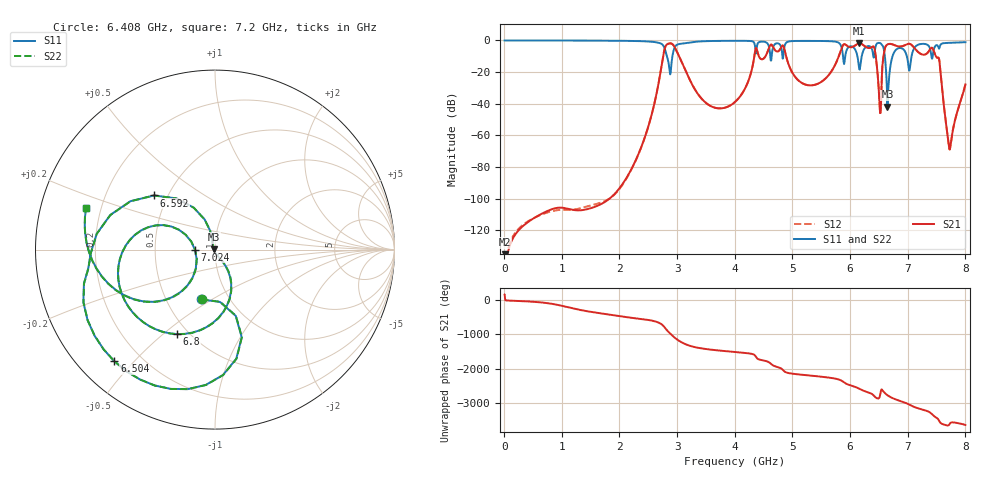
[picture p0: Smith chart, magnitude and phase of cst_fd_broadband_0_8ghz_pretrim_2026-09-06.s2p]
! TOUCHSTONE file generated by CST MICROWAVE STUDIO
! Date and time: Sun Sep  6 22:05:31 2026
! Project name: test.cst
! Parameters = {L_cav1=34.239; L_cav2=35.503; L_cav3=34.239; L_feed=15.4623; L_taper=15.738; Lsub=166.382; W_ms=1.6636; Wsub=45.79; a_siw=39.79; eps_r=3.66; h_air=4.56; h_sub=0.76; p_via=3; rvia=0.75; t_cu=0.0175; tan_d=0.0037; w_ext=13.96; w_iris12=14.416; w_iris23=14.416}
! Header version: 2018
! Port assignment regex: !\s*Touchstone port\s*([0-9]+)\s*=\s*(CST MWS port|CST DS port)\s*([0-9]+|Zmin|Zmax)\s*\(\"(.*)\"\)(\s*mode\s*([0-9]+))?.*
! Touchstone port assignment:
! Touchstone port 1 = CST MWS port 1 ("")
! Touchstone port 2 = CST MWS port 2 ("")
# GHz S MA R 50
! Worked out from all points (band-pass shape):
!   1001 points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, 8 MHz to 8 GHz, reference 50 ohm
!   highest |S21| = -1.79 dB at 6.16 GHz (marker M1); lowest = -165.4 dB at 16 MHz (marker M2)
!   |S21| within 3 dB of the highest: 5.855 GHz to 6.327 GHz (472.5 MHz wide, 7.76 % of centre); 6.606 GHz to 7.117 GHz (510.8 MHz wide, 7.44 % of centre)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
!   lowest |S11| = -41.9 dB at 6.648 GHz (marker M3), VSWR 1.02, Z = 49.2 + j0.0696 ohm
!   |S11| at or under -10 dB: 2.824 GHz to 2.918 GHz (94.7 MHz wide, 3.3 % of centre); 6.127 GHz to 6.202 GHz (74.42 MHz wide, 1.21 % of centre); 6.603 GHz to 6.736 GHz (132.5 MHz wide, 1.99 % of centre)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
!   |S22| runs from -42.0 to 0.0 dB; largest |S21 - S12| = 0.00028
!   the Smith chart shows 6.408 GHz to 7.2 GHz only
!   S11 on the Smith chart (normalised r, x): 6.408 GHz: 0.74, -0.45; 6.504 GHz: 0.11, -0.44; 6.592 GHz: 0.42, +0.32; 6.8 GHz: 0.43, -0.56; 7.024 GHz: 0.80, -0.00; 7.2 GHz: 0.14, +0.15
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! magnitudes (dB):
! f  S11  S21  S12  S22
! 8 MHz  0.0  -151.3  -151.2  0.0
! 16 MHz  0.0  -165.4  -160.8  0.0
! 1.344 GHz  -0.1  -107.3  -105.8  -0.1
! 2.232 GHz  -0.3  -79.5  -79.7  -0.3
! 2.672 GHz  -1.4  -28.3  -28.3  -1.4
! 2.888 GHz  -20.2  -1.8  -1.8  -20.2
! 3.48 GHz  -0.5  -38.8  -38.8  -0.5
! 4.008 GHz  -0.2  -38.7  -38.7  -0.2
! 4.632 GHz  -12.7  -2.5  -2.5  -12.6
! 5.336 GHz  -0.3  -28.4  -28.4  -0.3
! 6.16 GHz  -18.3  -1.8  -1.8  -18.3
! 6.408 GHz  -10.8  -3.9  -3.9  -10.8
! 6.504 GHz  -1.5  -35.4  -35.4  -1.5
! 6.592 GHz  -6.8  -7.0  -7.0  -6.9
! 6.648 GHz  -41.9  -2.5  -2.5  -42.0
! 6.672 GHz  -25.4  -2.2  -2.2  -25.5
! 6.8 GHz  -5.7  -3.4  -3.4  -5.7
! 7.024 GHz  -19.0  -2.1  -2.1  -19.1
! 7.2 GHz  -2.4  -7.9  -7.9  -2.4
! 7.52 GHz  -3.3  -10.9  -10.9  -3.3
! 7.728 GHz  -1.5  -69.0  -68.8  -1.5
! 8 GHz  -1.1  -27.8  -27.8  -1.1
